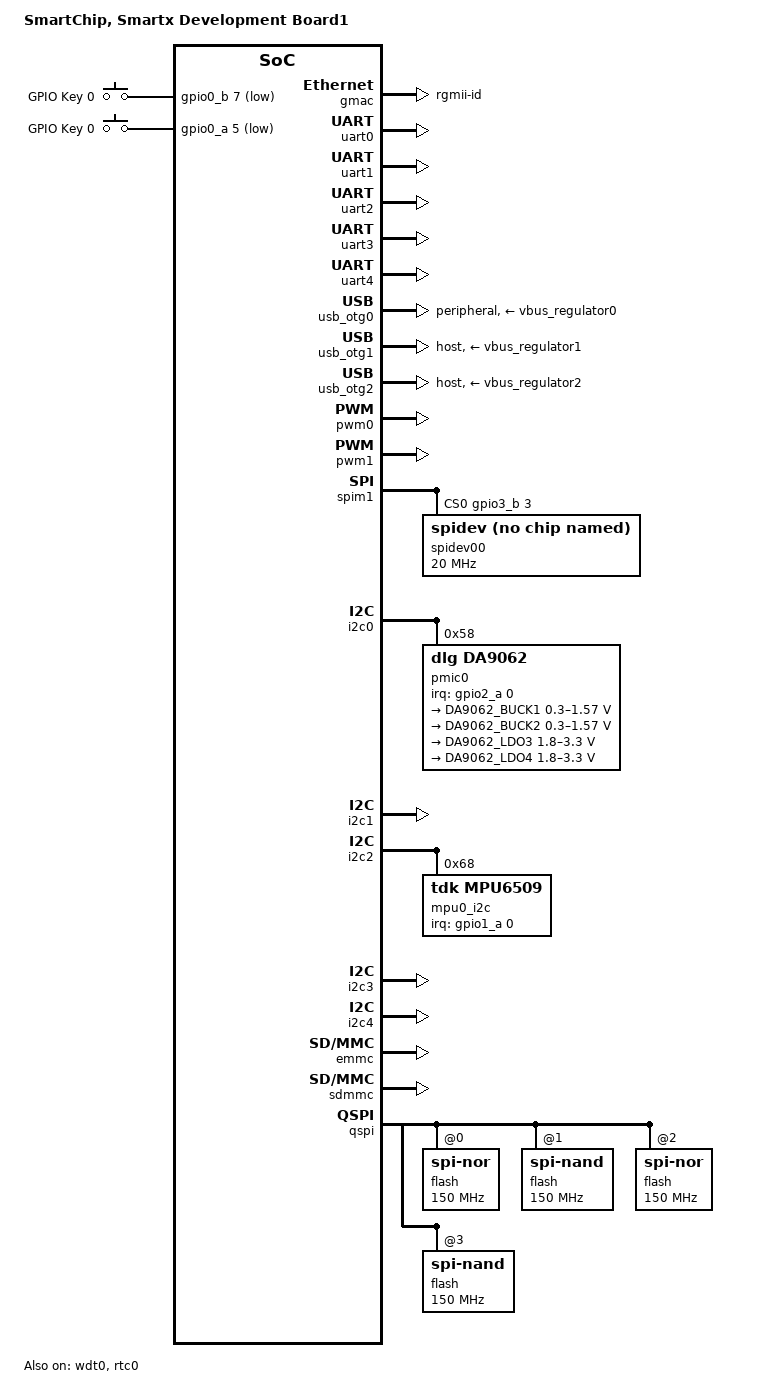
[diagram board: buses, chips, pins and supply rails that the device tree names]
/*
 * Copyright 2015 SmartChip Co., Ltd.
 */

/dts-v1/;
#include <dt-bindings/gpio/gpio.h>
#include <dt-bindings/interrupt-controller/arm-gic.h>
#include <dt-bindings/sca200v100_common.h>
#include "smartchip-sca200v100-memory.dtsi"
#include "smartchip-sca200v100.dtsi"

/ {
	model = "SmartChip, Smartx Development Board1";
};

&gpio_reboot {
	status = "okay";
};

&gmac {
	phy-mode = "rgmii-id";
	status = "okay";
};
&phy0 {
	max-speed = <1000>;
};

&uart0 {
	status = "okay";
};

&uart1 {
	status = "okay";
};

&uart2 {
	status = "okay";
};

&uart3 {
	status = "okay";
};

&uart4 {
	status = "okay";
};

&vbus_regulator0 {
	gpio = <&gpio1_b 5 GPIO_ACTIVE_HIGH>;
};

&vbus_regulator1 {
	gpio = <&gpio1_b 6 GPIO_ACTIVE_HIGH>;
};

&vbus_regulator2 {
	gpio = <&gpio1_b 7 GPIO_ACTIVE_HIGH>;
};

&usb_otg0 {
	dr_mode = "peripheral";
	vbus-supply = <&vbus_regulator0>;
	status = "okay";
};

&usb_otg1 {
	dr_mode = "host";
	vbus-supply = <&vbus_regulator1>;
	status = "okay";
};

&usb_otg2 {
	dr_mode = "host";
	vbus-supply = <&vbus_regulator2>;
	status = "okay";
};

&wdt0 {
	status = "okay";
};

&rtc0 {
	status = "okay";
};

&pwm0 {
	status = "okay";
};

&pwm1 {
	status = "okay";
};

&tzc {
	status = "disabled";
};

&spim0 {
	status = "disabled";
};

&spim1 {
	status = "okay";
    num-cs = <1>;
    cs-gpios = <&gpio3_b 3 0>;
    spidev00: spidev00 {
        #address-cells = <1>;
        #size-cells = <1>;
        compatible = "spidev";
        reg = <0>;
        spi-max-frequency = <20000000>;
    };
};

&spis0 {
	status = "disabled";
};

&spis1 {
	status = "disabled";
};

&i2c0 {
	status = "okay";

	pmic0: da9062@58 {
		status = "okay";
		compatible = "dlg,da9062";
		reg = <0x58>;
		interrupt-parent = <&gpio2_a>;
		interrupts = <0 IRQ_TYPE_LEVEL_LOW>;
		interrupt-controller;
		//gpios = <&gpio1_c 6 GPIO_ACTIVE_LOW>;

		rtc {
			compatible = "dlg,da9062-rtc";
		};

		watchdog {
			compatible = "dlg,da9062-watchdog";
		};

		thermal {
			compatible = "dlg,da9062-thermal";
			polling-delay-passive = <3000>;
		};

		regulators {
			DA9062_BUCK1: buck1 {
				regulator-name = "BUCK1";
				regulator-min-microvolt = <300000>;
				regulator-max-microvolt = <1570000>;
				regulator-min-microamp = <500000>;
				regulator-max-microamp = <2000000>;
				regulator-boot-on;
			};
			DA9062_BUCK2: buck2 {
				regulator-name = "BUCK2";
				regulator-min-microvolt = <300000>;
				regulator-max-microvolt = <1570000>;
				regulator-min-microamp = <500000>;
				regulator-max-microamp = <2000000>;
				regulator-boot-on;
			};
			DA9062_LDO3: ldo3 {
				regulator-name = "LDO_3";
				regulator-min-microvolt = <1800000>;
				regulator-max-microvolt = <3300000>;
				regulator-boot-on;
			};
			DA9062_LDO4: ldo4 {
				regulator-name = "LDO_4";
				regulator-min-microvolt = <1800000>;
				regulator-max-microvolt = <3300000>;
				regulator-boot-on;
			};
		};
	};
};

&i2c1 {
	status = "okay";
};

&i2c2 {
	status = "okay";

	mpu0_i2c: mpu6509@68 {
		status = "okay";
		compatible = "tdk,mpu6509";
		reg = <0x68>;
		interrupt-parent = <&gpio1_a>;
		interrupts = <0 IRQ_TYPE_LEVEL_HIGH>;
		interrupt-controller;
	};
};

&i2c3 {
	status = "okay";
};

&i2c4 {
	status = "okay";
};

&emmc {
//	/delete-property/voltage-ranges;
//	/delete-property/no-1-8-v;
	/delete-property/full-pwr-cycle;
//	vqmmc-supply = <&DA9062_LDO4>;
//	mmc-hs200-1_8v;
	status = "okay";
};

&sdmmc {
	status = "okay";

	slot@0 {
		vqmmc-supply = <&DA9062_LDO3>;

		bus-width = <4>;
		cap-sd-highspeed;
		sd-uhs-sdr12;
		sd-uhs-sdr25;
		sd-uhs-sdr50;
		sd-uhs-sdr104;
		sd-uhs-ddr50;

		no-mmc;
		no-sdio;

		status = "okay";
	};
	slot@2 {
		fixed-1v8;

		bus-width = <4>;
		cap-sd-highspeed;
		sd-uhs-sdr12;
		sd-uhs-sdr25;
		sd-uhs-sdr50;
		sd-uhs-sdr104;
		sd-uhs-ddr50;

		cap-sdio-irq;

		no-mmc;
		no-sd;
		non-removable;

		status = "okay";
	};
};

&qspi {
	status = "okay";

	flash@0 {
		compatible = "jedec,spi-nor";
		reg = <SPI_NOR_CS0>;
		spi-max-frequency = <150000000>;
	};
	flash@1 {
		compatible = "spi-nand";
		reg = <SPI_NAND_CS0>;
		spi-max-frequency = <150000000>;
	};
	flash@2 {
		compatible = "jedec,spi-nor";
		reg = <SPI_NOR_CS1>;
		spi-max-frequency = <150000000>;
	};
	flash@3 {
		compatible = "spi-nand";
		reg = <SPI_NAND_CS1>;
		spi-max-frequency = <150000000>;
	};
};

/ {
	gpio_keys {
		compatible = "gpio-keys-polled";
		poll-interval = <100>;
		autorepeat = <1>;

		button0 {
			label = "GPIO Key 0";
			linux,code = <105>;
			gpios = <&gpio0_b 7 GPIO_ACTIVE_LOW>;
		};
	};

	gpio_keys_int {
		compatible = "gpio-keys";
		autorepeat = <1>;

		button0 {
			label = "GPIO Key 0";
			linux,code = <106>;
			gpios = <&gpio0_a 5 GPIO_ACTIVE_LOW>;
		};
	};

};
